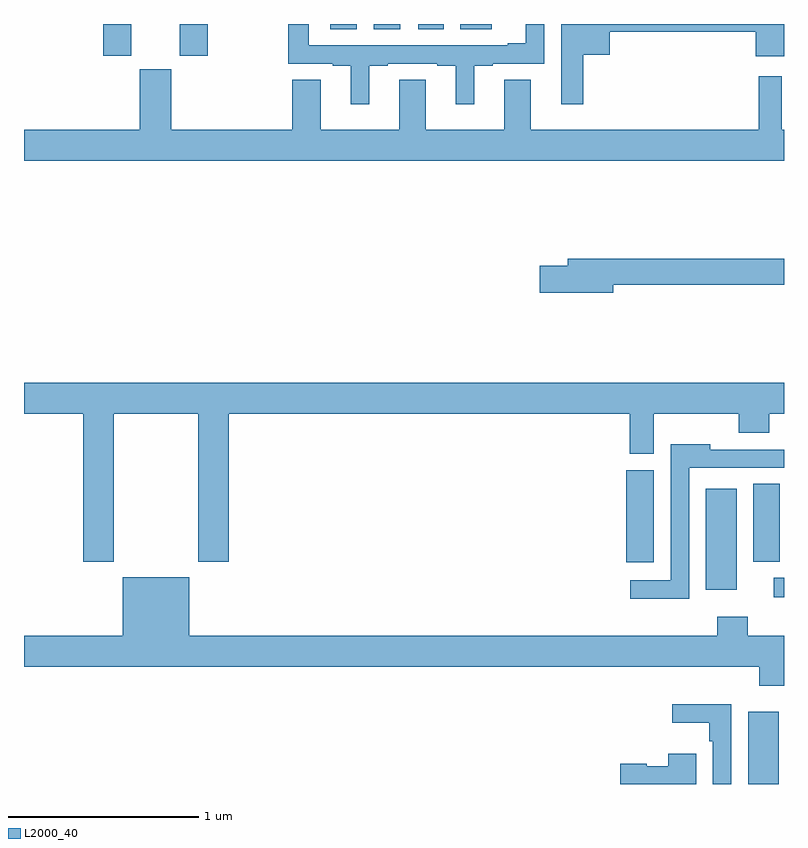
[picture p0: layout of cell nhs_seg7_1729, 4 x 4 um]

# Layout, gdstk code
import gdstk
lib = gdstk.Library(unit=1e-6, precision=1e-09)
def R(c, l, rs):  # rectangles x0, y0, x1, y1
    for r in rs: c.add(gdstk.rectangle(r[:2], r[2:], *l))
def P(c, l, *ps):  # polygons
    for p in ps: c.add(gdstk.Polygon(p, *l))
L2000_40 = (2000, 40)

nhs_seg7_1729 = lib.new_cell('nhs_seg7_1729')
R(nhs_seg7_1729, L2000_40, [(232.811,1000,232.972,1000.381), (232.947,1000.982,233,1001.086), (232.589,1001.022,232.75,1001.554), (232.169,1001.166,232.315,1001.652), (232.838,1001.171,232.978,1001.579), (229.417,1003.833,229.564,1004), (229.82,1003.833,229.968,1004), (230.612,1003.972,230.752,1004), (230.84,1003.972,230.98,1004), (231.074,1003.972,231.208,1004), (231.296,1003.972,231.463,1004)])
P(nhs_seg7_1729, L2000_40, [(231.944,1003.838),(232.084,1003.838),(232.084,1003.96),(232.85,1003.96),(232.85,1003.829),(233,1003.829),(233,1004),(231.828,1004),(231.828,1003.578),(231.944,1003.578)],
  [(230.818,1003.779),(230.914,1003.779),(230.914,1003.791),(231.176,1003.791),(231.176,1003.779),(231.272,1003.779),(231.272,1003.578),(231.37,1003.578),(231.37,1003.779),(231.466,1003.779),(231.466,1003.791),(231.738,1003.791),(231.738,1004),(231.641,1004),(231.641,1003.9),(231.545,1003.9),(231.545,1003.887),(230.499,1003.887),(230.499,1004),(230.391,1004),(230.391,1003.791),(230.624,1003.791),(230.624,1003.779),(230.72,1003.779),(230.72,1003.578),(230.818,1003.578)],
  [(229.61,1003.761),(229.61,1003.444),(229,1003.444),(229,1003.28),(233,1003.28),(233,1003.444),(232.987,1003.444),(232.987,1003.726),(232.866,1003.726),(232.866,1003.444),(231.667,1003.444),(231.667,1003.706),(231.527,1003.706),(231.527,1003.444),(231.115,1003.444),(231.115,1003.706),(230.975,1003.706),(230.975,1003.444),(230.563,1003.444),(230.563,1003.706),(230.411,1003.706),(230.411,1003.444),(229.774,1003.444),(229.774,1003.761)],
  [(232.102,1002.628),(233,1002.628),(233,1002.764),(231.863,1002.764),(231.863,1002.728),(231.714,1002.728),(231.714,1002.586),(232.102,1002.586)],
  [(229.473,1001.948),(229.918,1001.948),(229.918,1001.169),(230.078,1001.169),(230.078,1001.948),(232.187,1001.948),(232.187,1001.737),(232.315,1001.737),(232.315,1001.948),(232.762,1001.948),(232.762,1001.849),(232.922,1001.849),(232.922,1001.948),(233,1001.948),(233,1002.112),(229,1002.112),(229,1001.948),(229.313,1001.948),(229.313,1001.169),(229.473,1001.169)],
  [(232.5,1001.664),(233,1001.664),(233,1001.76),(232.611,1001.76),(232.611,1001.788),(232.404,1001.788),(232.404,1001.073),(232.191,1001.073),(232.191,1000.976),(232.5,1000.976)],
  [(233,1000.78),(232.809,1000.78),(232.809,1000.879),(232.649,1000.879),(232.649,1000.78),(229.87,1000.78),(229.87,1001.089),(229.52,1001.089),(229.52,1000.78),(229,1000.78),(229,1000.616),(232.871,1000.616),(232.871,1000.517),(233,1000.517)],
  [(232.722,1000.421),(232.413,1000.421),(232.413,1000.322),(232.606,1000.322),(232.606,1000.226),(232.626,1000.226),(232.626,1000),(232.722,1000)],
  [(232.537,1000.159),(232.391,1000.159),(232.391,1000.093),(232.278,1000.093),(232.278,1000.106),(232.137,1000.106),(232.137,1000),(232.537,1000)])

lib.write_gds('nhs_seg7_1729.gds')
